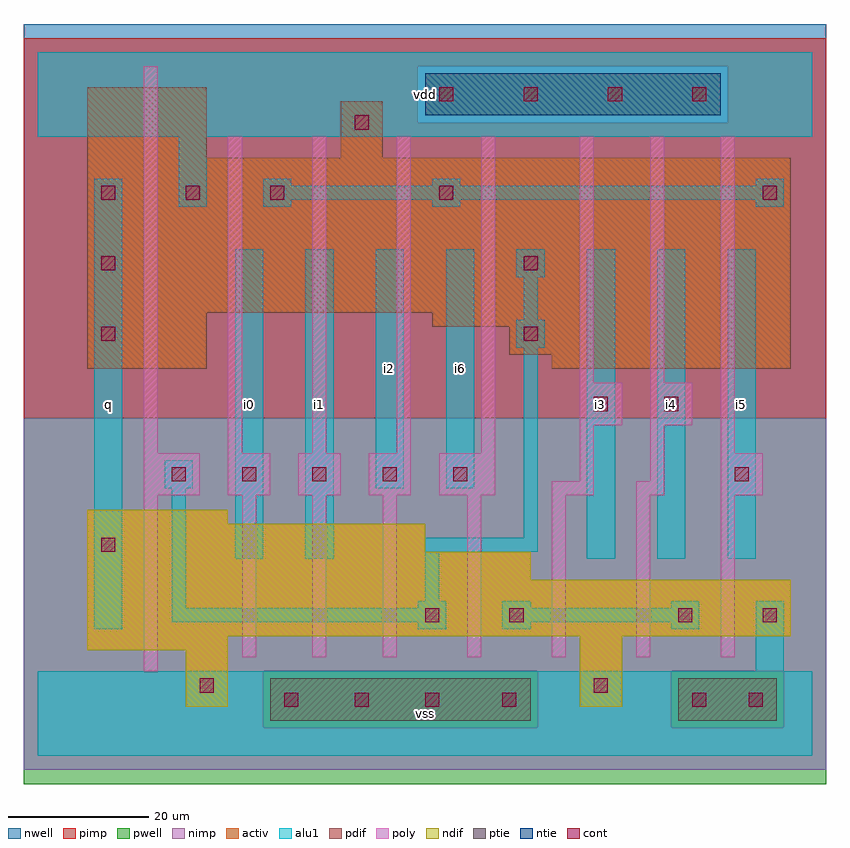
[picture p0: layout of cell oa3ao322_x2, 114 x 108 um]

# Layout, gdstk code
import gdstk
lib = gdstk.Library(unit=1e-6, precision=1e-09)
def R(c, l, rs):  # rectangles x0, y0, x1, y1
    for r in rs: c.add(gdstk.rectangle(r[:2], r[2:], *l))
def A(c, l, x, y, w, h, nx, ny, dx, dy):  # array of equal rectangles
    R(c, l, [(x+i*dx, y+j*dy, x+i*dx+w, y+j*dy+h) for i in range(nx) for j in range(ny)])
ndif = (3, 0)
pdif = (4, 0)
ntie = (5, 0)
ptie = (6, 0)
cont = (25, 0)
pwell = (41, 0)
nwell = (42, 0)
activ = (43, 0)
pimp = (44, 0)
nimp = (45, 0)
poly = (46, 0)
alu1 = (49, 0)

oa3ao322_x2 = lib.new_cell('oa3ao322_x2')
R(oa3ao322_x2, ndif, [(21,7,27,15), (77,7,83,17), (7,15,27,17), (7,17,107,25), (7,25,70,29), (7,29,55,33), (7,33,27,35)])
R(oa3ao322_x2, pdif, [(7,55,24,63), (73,55,107,57), (67,57,107,61), (56,61,107,63), (7,63,107,85), (7,85,24,95), (43,85,49,93)])
R(oa3ao322_x2, ntie, [(55,91,97,97)])
R(oa3ao322_x2, ptie, [(33,5,70,11), (91,5,105,11)])
A(oa3ao322_x2, cont, 35, 7, 2, 2, 3, 1, 10, 0)
A(oa3ao322_x2, cont, 19, 39, 2, 2, 5, 1, 10, 0)
A(oa3ao322_x2, cont, 9, 79, 2, 2, 3, 1, 12, 0)
A(oa3ao322_x2, cont, 57, 93, 2, 2, 4, 1, 12, 0)
R(oa3ao322_x2, cont, [(66,7,68,9), (93,7,95,9), (101,7,103,9), (23,9,25,11), (79,9,81,11), (55,19,57,21), (67,19,69,21), (91,19,93,21), (103,19,105,21), (9,29,11,31), (99,39,101,41), (79,49,81,51), (89,49,91,51), (9,59,11,61), (69,59,71,61), (9,69,11,71), (69,69,71,71), (57,79,59,81), (103,79,105,81), (45,89,47,91)])
R(oa3ao322_x2, pwell, [(-2,-4,112,48)])
R(oa3ao322_x2, nwell, [(-2,48,112,104)])
R(oa3ao322_x2, activ, [(33,5,70,11), (91,5,105,11), (21,7,27,15), (77,7,83,17), (7,15,27,17), (7,17,107,25), (7,25,70,29), (7,29,55,33), (7,33,27,35), (7,55,24,63), (73,55,107,57), (67,57,107,61), (56,61,107,63), (7,63,107,85), (7,85,24,95), (43,85,49,93), (55,91,97,97)])
R(oa3ao322_x2, pimp, [(32,4,71,12), (90,4,106,12), (-2,48,112,90), (-2,90,54,98), (98,90,112,98), (-2,98,112,102)])
R(oa3ao322_x2, nimp, [(-2,-2,112,4), (-2,4,32,12), (71,4,90,12), (106,4,112,12), (-2,12,112,48), (54,90,98,98)])
A(oa3ao322_x2, poly, 29, 14, 2, 23, 3, 1, 10, 0)
A(oa3ao322_x2, poly, 61, 14, 2, 23, 4, 1, 12, 0)
A(oa3ao322_x2, poly, 27, 37, 6, 6, 3, 1, 10, 0)
A(oa3ao322_x2, poly, 27, 43, 2, 45, 4, 1, 12, 0)
R(oa3ao322_x2, poly, [(15,12,17,37), (15,37,23,43), (57,37,65,43), (73,37,79,39), (85,37,89,39), (97,37,103,43), (77,39,79,47), (87,39,89,47), (15,43,17,98), (97,43,99,88), (77,47,83,53), (87,47,93,53), (77,53,79,88), (87,53,89,88)])
A(oa3ao322_x2, alu1, 78, 28, 4, 44, 3, 1, 10, 0)
R(oa3ao322_x2, alu1, [(0,0,110,12), (102,12,106,22), (8,18,12,82), (54,18,58,19), (66,18,70,19), (90,18,94,19), (19,19,58,21), (66,19,94,21), (19,21,21,38), (54,21,58,22), (66,21,70,22), (90,21,94,22), (55,22,57,29), (28,28,32,72), (38,28,42,72), (55,29,71,31), (69,31,71,58), (18,38,22,42), (48,38,52,72), (58,38,62,72), (68,58,72,62), (69,62,71,68), (68,68,72,72), (20,78,24,88), (32,78,36,79), (56,78,60,79), (102,78,106,79), (32,79,106,81), (32,81,36,82), (56,81,60,82), (102,81,106,82), (0,88,110,100)])
oa3ao322_x2.add(gdstk.Label('q', (10,50), layer=49, texttype=0))
oa3ao322_x2.add(gdstk.Label('i0', (30,50), layer=49, texttype=0))
oa3ao322_x2.add(gdstk.Label('vss', (55,6), layer=49, texttype=0))
oa3ao322_x2.add(gdstk.Label('i1', (40,50), layer=49, texttype=0))
oa3ao322_x2.add(gdstk.Label('i6', (60,55), layer=49, texttype=0))
oa3ao322_x2.add(gdstk.Label('i2', (50,55), layer=49, texttype=0))
oa3ao322_x2.add(gdstk.Label('vdd', (55,94), layer=49, texttype=0))
oa3ao322_x2.add(gdstk.Label('i3', (80,50), layer=49, texttype=0))
oa3ao322_x2.add(gdstk.Label('i4', (90,50), layer=49, texttype=0))
oa3ao322_x2.add(gdstk.Label('i5', (100,50), layer=49, texttype=0))

lib.write_gds('oa3ao322_x2.gds')
